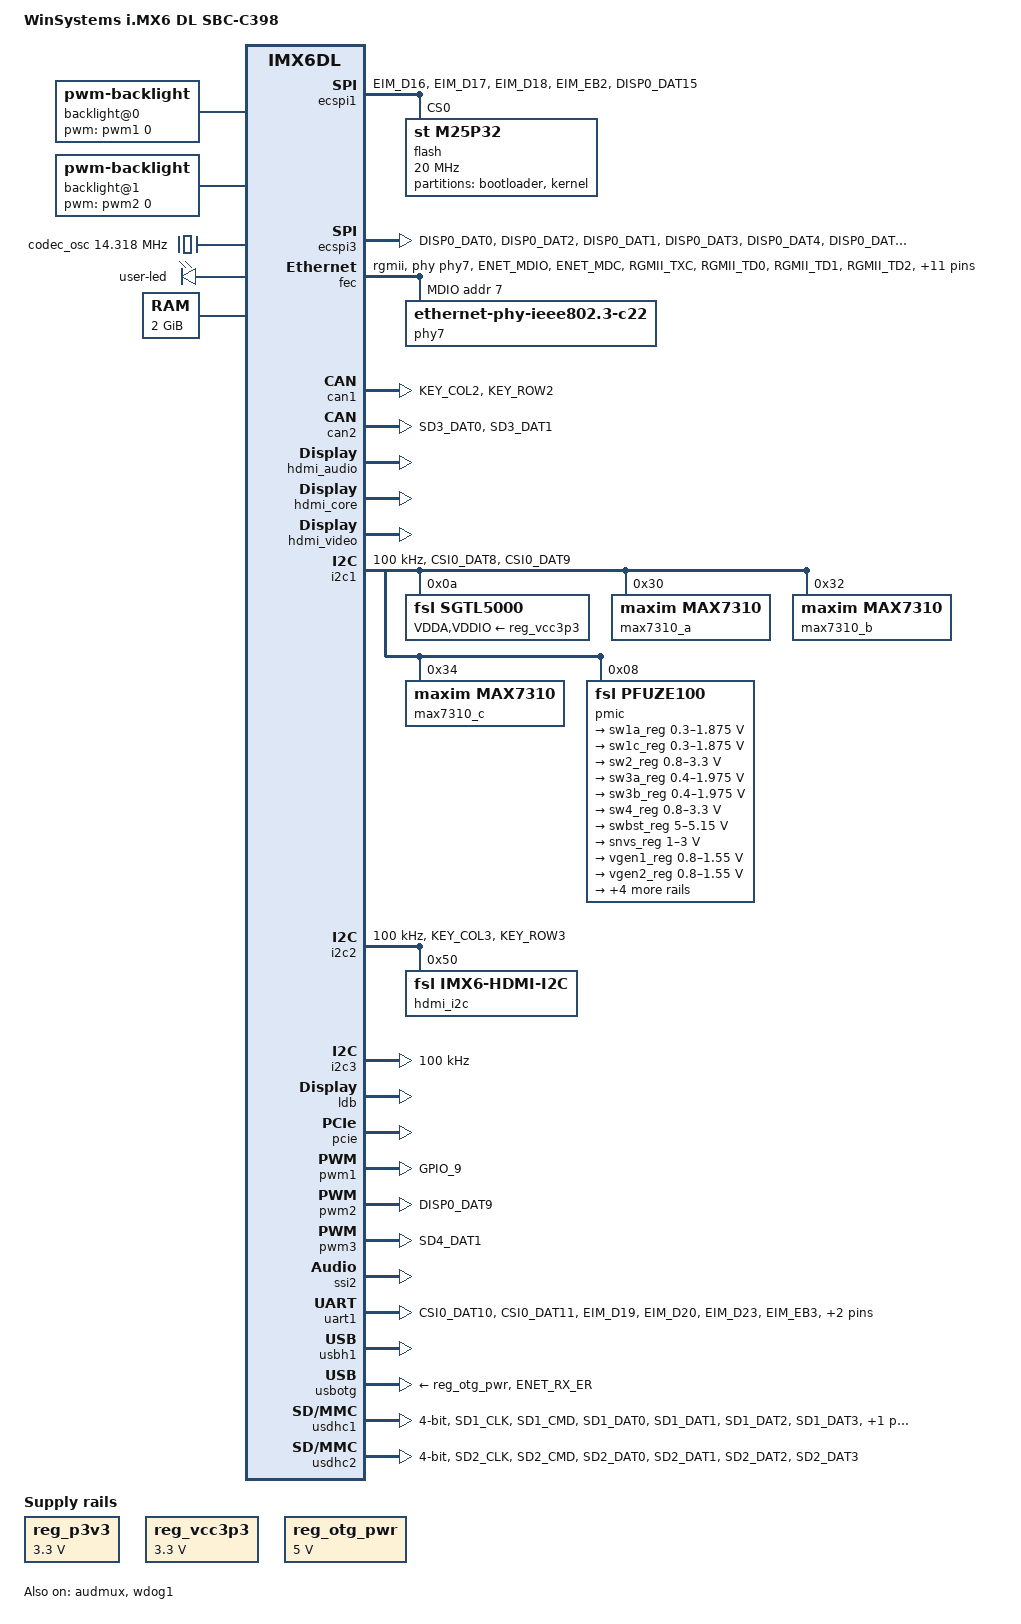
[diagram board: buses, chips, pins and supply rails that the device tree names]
/*
 * Copyright 2016 WinSystems, Inc.
 * Copyright 2012 Freescale Semiconductor, Inc.
 * Copyright 2011 Linaro Ltd.
 *
 * The code contained herein is licensed under the GNU General Public
 * License. You may obtain a copy of the GNU General Public License
 * Version 2 or later at the following locations:
 *
 * http://www.opensource.org/licenses/gpl-license.html
 * http://www.gnu.org/copyleft/gpl.html
 */

/dts-v1/;

#include "imx6dl-pinfunc.h"
#include "imx6dl.dtsi"
#include <dt-bindings/gpio/gpio.h>
#include <dt-bindings/input/input.h>
#include <dt-bindings/interrupt-controller/irq.h>

#define GP_SD1_CS           <&gpio1 1 GPIO_ACTIVE_LOW>
#define GP_BL1_ENBL         <&gpio1 5 GPIO_ACTIVE_HIGH>
#define GP_BL2_ENBL         <&gpio7 13 GPIO_ACTIVE_HIGH>
#define GP_LED_USER         <&gpio1 26 GPIO_ACTIVE_HIGH>
#define GP_CAN2_SILENT      <&gpio1 27 GPIO_ACTIVE_HIGH>
#define GP_ENET_PHY_INT     <&gpio1 28 GPIO_ACTIVE_LOW>
#define GP_CAN1_SILENT      <&gpio1 29 GPIO_ACTIVE_HIGH>
#define GP_SPI1_SS0         <&gpio2 30 GPIO_ACTIVE_HIGH>
#define GP_SPI3_SS0         <&gpio4 24 GPIO_ACTIVE_HIGH>
#define GP_SPI3_SS1         <&gpio4 25 GPIO_ACTIVE_HIGH>
#define GP_SPI3_SS2         <&gpio4 26 GPIO_ACTIVE_HIGH>
#define GP_SPI3_SS3         <&gpio4 27 GPIO_ACTIVE_HIGH>
#define GP_OTG_PWR_EN       <&gpio6 7 GPIO_ACTIVE_HIGH>
#define GP_USB_HUB_RST      <&gpio6 15 GPIO_ACTIVE_LOW>
#define GP_ENET_PHY_RESET   <&gpio6 31 GPIO_ACTIVE_LOW>

#define GP_EXP_PCIE_RST     <&max7310_b 5 GPIO_ACTIVE_LOW>
#define GP_EXP_PCIE_DIS     <&max7310_b 6 GPIO_ACTIVE_LOW>


/ {
    model = "WinSystems i.MX6 DL SBC-C398";
    compatible = "fsl,imx6dl-c398", "fsl,imx6dl";
  };

/ {
    aliases {
        mxcfb0 = &mxcfb1;
        mxcfb1 = &mxcfb2;
        mxcfb2 = &mxcfb3;
        mxcfb3 = &mxcfb4;
    };

    backlight@0 {
        compatible = "pwm-backlight";
        pwms = <&pwm1 0 5000000>;
        brightness-levels = <0 4 8 16 32 64 128 255>;
        default-brightness-level = <7>;
        enable-gpios = GP_BL1_ENBL;
    };

    backlight@1 {
        compatible = "pwm-backlight";
        pwms = <&pwm2 0 5000000>;
        brightness-levels = <0 4 8 16 32 64 128 255>;
        default-brightness-level = <5>;
        enable-gpios = GP_BL2_ENBL;
    };

    clocks {
        codec_osc: codec_osc {
            compatible = "fixed-clock";
            #clock-cells = <0>;
            clock-frequency = <14318000>;
        };
    };

    leds {
        compatible = "gpio-leds";
        pinctrl-names = "default";
        pinctrl-0 = <&pinctrl_leds>;

        user-led {
            gpios = GP_LED_USER;
            retain-state-suspended;
            default-state = "off";
        };
    };

    memory {
        reg = <0x10000000 0x80000000>;
    };

    mxcfb1: fb@0 {
        compatible = "fsl,mxc_sdc_fb";
        disp_dev = "ldb";
        interface_pix_fmt = "RGB666";
        mode_str = "LDB-WVGA";
        default_bpp = <18>;
        int_clk = <0>;
        late_init = <0>;
        status = "okay";
    };

    mxcfb2: fb@1 {
        compatible = "fsl,mxc_sdc_fb";
        disp_dev = "ldb";
        interface_pix_fmt = "RGB666";
        mode_str = "LDB-WVGA";
        default_bpp = <18>;
        int_clk = <0>;
        late_init = <0>;
        status = "okay";
    };

    mxcfb3: fb@2 {
        compatible = "fsl,mxc_sdc_fb";
        disp_dev = "ldb";
        interface_pix_fmt = "RGB666";
        mode_str = "LDB-WVGA";
        default_bpp = <18>;
        int_clk = <0>;
        late_init = <0>;
        status = "okay";
    };

    mxcfb4: fb@3 {
        compatible = "fsl,mxc_sdc_fb";
        disp_dev = "ldb";
        interface_pix_fmt = "RGB566";
        mode_str = "LDB-WVGA";
        default_bpp = <18>;
        int_clk = <0>;
        late_init = <0>;
        status = "okay";
    };

    regulators {
        compatible = "simple-bus";
        #address-cells = <1>;
        #size-cells = <0>;

        reg_p3v3: regulator@0 {
            compatible = "regulator-fixed";
            reg = <0>;
            regulator-name = "reg_p3v3";
            regulator-min-microvolt = <3300000>;
            regulator-max-microvolt = <3300000>;
            regulator-always-on;
        };

        reg_vcc3p3: regulator@1 {
            compatible = "regulator-fixed";
            reg = <1>;
            regulator-name = "reg_vcc3p3";
            regulator-min-microvolt = <3300000>;
            regulator-max-microvolt = <3300000>;
            regulator-always-on;
        };

		reg_otg_pwr: regulator@2 {
			compatible = "regulator-fixed";
			reg = <2>;
			regulator-name = "reg_otg_pwr";
			regulator-min-microvolt = <5000000>;
			regulator-max-microvolt = <5000000>;
			gpio = GP_OTG_PWR_EN;
			enable-active-high;
		};
    };

    sound {
        compatible = "fsl,imx6dl-c398-sgtl5000",
                 "fsl,imx-audio-sgtl5000";
        model = "sgtl5000-audio";
        ssi-controller = <&ssi2>;
        audio-codec = <&sgtl5000>;
        audio-routing =
            "MIC_IN", "Mic Jack",
            "Mic Jack", "Mic Bias",
            "LINE_IN", "Line In Jack",
            "Line Out Jack", "LINE_OUT", 
            "Headphone Jack", "HP_OUT";
        mux-int-port = <2>;
        mux-ext-port = <5>;
    };

    sound-hdmi {
        compatible = "fsl,imx6q-audio-hdmi",
                 "fsl,imx-audio-hdmi";
        model = "imx-audio-hdmi";
        hdmi-controller = <&hdmi_audio>;
    };

    v4l2_cap_0 {
        compatible = "fsl,imx6q-v4l2-capture";
        ipu_id = <0>;
        csi_id = <0>;
        mclk_source = <0>;
        status = "disabled";
    };

    v4l2_out {
        compatible = "fsl,mxc_v4l2_output";
        status = "okay";
    };
};

&audmux {
    pinctrl-names = "default";
    pinctrl-0 = <&pinctrl_audmux>;
    status = "okay";
};

&ecspi1 {
    fsl,spi-num-chipselects = <1>;
    cs-gpios = GP_SPI1_SS0;
    pinctrl-names = "default";
    pinctrl-0 = <&pinctrl_ecspi1>;
    status = "okay";

    flash: m25p80@0 {
        #address-cells = <1>;
        #size-cells = <1>;
        compatible = "st,m25p32";
        reg = <0>;
        spi-max-frequency = <20000000>;

        partition@0 {
            label = "bootloader";
            reg = <0x0 0x100000>;
        };

        partition@1 {
            label = "kernel";
            reg = <0x100000 0x300000>;
        };
    };
};

&ecspi3 {
    fsl,spi-num-chipselects = <4>;
    cs-gpios = GP_SPI3_SS0;
    cs-gpios = GP_SPI3_SS1;
    cs-gpios = GP_SPI3_SS2;
    cs-gpios = GP_SPI3_SS3;
    pinctrl-names = "default";
    pinctrl-0 = <&pinctrl_ecspi3>;
    status = "okay";
};

&fec {
    pinctrl-names = "default";
    pinctrl-0 = <&pinctrl_enet>;
    phy-mode = "rgmii";
    phy-handle = <&phy7>;
    #if 0
    phy-reset-gpios = GP_ENET_PHY_RESET;
    #endif
    status = "okay";

    mdio {
        #address-cells = <1>;
        #size-cells = <0>;

        phy7: ethernet-phy@7 {
            compatible = "ethernet-phy-ieee802.3-c22";
            reg = <7>;
        };
    };
};

&can1 {
    pinctrl-names = "default";
    pinctrl-0 = <&pinctrl_flexcan1>;
    trx-stby-gpio = GP_CAN1_SILENT;
    status = "okay";
};

&can2 {
    pinctrl-names = "default";
    pinctrl-0 = <&pinctrl_flexcan2>;
    trx-stby-gpio = GP_CAN2_SILENT;
    status = "okay";
};

&gpc {
    fsl,ldo-bypass = <1>;
    fsl,wdog-reset = <1>;
};

&hdmi_audio {
    status = "okay";
};

/*
&hdmi_cec {
    pinctrl-names = "default";
    pinctrl-0 = <&pinctrl_hdmi_cec>;
    status = "okay";
};
*/

&hdmi_core {
    ipu_id = <0>;
    disp_id = <0>;
    status = "okay";
};

&hdmi_video {
    fsl,phy_reg_vlev = <0x0294>;
    fsl,phy_reg_cksymtx = <0x800d>;
    status = "okay";
};

&i2c1 {
    clock-frequency = <100000>;
    pinctrl-names = "default";
    pinctrl-0 = <&pinctrl_i2c1>;
    status = "okay";

    sgtl5000: sgtl5000@0a {
        compatible = "fsl,sgtl5000";
        reg = <0x0a>;
        VDDA-supply = <&reg_vcc3p3>;
        VDDIO-supply = <&reg_vcc3p3>;
        clocks = <&codec_osc>;
    };

    max7310_a: gpio@30 {
        compatible = "maxim,max7310";
        reg = <0x30>;
        gpio-controller;
        #gpio-cells = <2>;
    };

    max7310_b: gpio@32 {
        compatible = "maxim,max7310";
        reg = <0x32>;
        gpio-controller;
        #gpio-cells = <2>;
    };

    max7310_c: gpio@34 {
        compatible = "maxim,max7310";
        reg = <0x34>;
        gpio-controller;
        #gpio-cells = <2>;
    };

    pmic: pfuze100@08 {
        compatible = "fsl,pfuze100";
        reg = <0x08>;

        regulators {
            sw1a_reg: sw1ab {
                regulator-min-microvolt = <300000>;
                regulator-max-microvolt = <1875000>;
                regulator-boot-on;
                regulator-always-on;
                regulator-ramp-delay = <6250>;
            };

            sw1c_reg: sw1c {
                regulator-min-microvolt = <300000>;
                regulator-max-microvolt = <1875000>;
                regulator-boot-on;
                regulator-always-on;
                regulator-ramp-delay = <6250>;
            };

            sw2_reg: sw2 {
                regulator-min-microvolt = <800000>;
                regulator-max-microvolt = <3300000>;
                regulator-boot-on;
                regulator-always-on;
            };

            sw3a_reg: sw3a {
                regulator-min-microvolt = <400000>;
                regulator-max-microvolt = <1975000>;
                regulator-boot-on;
                regulator-always-on;
            };

            sw3b_reg: sw3b {
                regulator-min-microvolt = <400000>;
                regulator-max-microvolt = <1975000>;
                regulator-boot-on;
                regulator-always-on;
            };

            sw4_reg: sw4 {
                regulator-min-microvolt = <800000>;
                regulator-max-microvolt = <3300000>;
            };

            swbst_reg: swbst {
                regulator-min-microvolt = <5000000>;
                regulator-max-microvolt = <5150000>;
            };

            snvs_reg: vsnvs {
                regulator-min-microvolt = <1000000>;
                regulator-max-microvolt = <3000000>;
                regulator-boot-on;
                regulator-always-on;
            };

            vref_reg: vrefddr {
                regulator-boot-on;
                regulator-always-on;
            };

            vgen1_reg: vgen1 {
                regulator-min-microvolt = <800000>;
                regulator-max-microvolt = <1550000>;
            };

            vgen2_reg: vgen2 {
                regulator-min-microvolt = <800000>;
                regulator-max-microvolt = <1550000>;
            };

            vgen3_reg: vgen3 {
                regulator-min-microvolt = <1800000>;
                regulator-max-microvolt = <3300000>;
            };

            vgen4_reg: vgen4 {
                regulator-min-microvolt = <1800000>;
                regulator-max-microvolt = <3300000>;
                regulator-always-on;
            };

            vgen5_reg: vgen5 {
                regulator-min-microvolt = <1800000>;
                regulator-max-microvolt = <3300000>;
                regulator-always-on;
            };

            vgen6_reg: vgen6 {
                regulator-min-microvolt = <1800000>;
                regulator-max-microvolt = <3300000>;
                regulator-always-on;
            };
        };
    };
};

&i2c2 {
    clock-frequency = <100000>;
    pinctrl-names = "default";
    pinctrl-0 = <&pinctrl_i2c2>;
    status = "okay";

    hdmi_i2c: edid@50 {
        compatible = "fsl,imx6-hdmi-i2c";
        reg = <0x50>;
    };
};

&i2c3 {
    clock-frequency = <100000>;
    pinctrl-names = "default";
    pinctrl-0 = <&pinctrl_i2c3>;
    status = "okay";
};

&iomuxc {
    pinctrl-names = "default";
    pinctrl-0 = <&pinctrl_hog>;

    imx6dl-c398 {
        pinctrl_audmux: audmuxgrp {
            fsl,pins = <  
                MX6QDL_PAD_DISP0_DAT16__AUD5_TXC       0x130b0
                MX6QDL_PAD_DISP0_DAT17__AUD5_TXD       0x130b0
                MX6QDL_PAD_DISP0_DAT18__AUD5_TXFS      0x130b0
                MX6QDL_PAD_DISP0_DAT19__AUD5_RXD       0x130b0
            >;
        };

        pinctrl_epit: epitgrp {
            fsl,pins = <  
                MX6QDL_PAD_GPIO_7__EPIT1_OUT           0x80000000
                MX6QDL_PAD_GPIO_8__EPIT2_OUT           0x80000000
            >;
        };

        pinctrl_ecspi1: ecspi1grp {
            fsl,pins = <
                MX6QDL_PAD_EIM_D16__ECSPI1_SCLK        0x100b1
                MX6QDL_PAD_EIM_D17__ECSPI1_MISO        0x100b1
                MX6QDL_PAD_EIM_D18__ECSPI1_MOSI        0x100b1
                MX6QDL_PAD_EIM_EB2__GPIO2_IO30         0x80000000  /* cs0 */
                MX6QDL_PAD_DISP0_DAT15__ECSPI1_SS1     0x100b1     /* cs1 unused */
            >;
        };

        pinctrl_ecspi3: ecspi3grp {
            fsl,pins = <
                MX6QDL_PAD_DISP0_DAT0__ECSPI3_SCLK     0x100b1
                MX6QDL_PAD_DISP0_DAT2__ECSPI3_MISO     0x100b1
                MX6QDL_PAD_DISP0_DAT1__ECSPI3_MOSI     0x100b1
                MX6QDL_PAD_DISP0_DAT3__GPIO4_IO24      0x80000000  /* cs0 */
                MX6QDL_PAD_DISP0_DAT4__GPIO4_IO25      0x80000000  /* cs1 */
                MX6QDL_PAD_DISP0_DAT5__GPIO4_IO26      0x80000000  /* cs2 */
                MX6QDL_PAD_DISP0_DAT6__GPIO4_IO27      0x80000000  /* cs3 */
                MX6QDL_PAD_DISP0_DAT7__ECSPI3_RDY      0x100b1
            >;
        };

        pinctrl_enet: enetgrp {
            fsl,pins = <
                MX6QDL_PAD_ENET_MDIO__ENET_MDIO        0x1b0b0
                MX6QDL_PAD_ENET_MDC__ENET_MDC          0x1b0b0
                MX6QDL_PAD_RGMII_TXC__RGMII_TXC        0x1b0b0
                MX6QDL_PAD_RGMII_TD0__RGMII_TD0        0x1b0b0
                MX6QDL_PAD_RGMII_TD1__RGMII_TD1        0x1b0b0
                MX6QDL_PAD_RGMII_TD2__RGMII_TD2        0x1b0b0
                MX6QDL_PAD_RGMII_TD3__RGMII_TD3        0x1b0b0
                MX6QDL_PAD_RGMII_TX_CTL__RGMII_TX_CTL  0x1b0b0
                MX6QDL_PAD_ENET_REF_CLK__ENET_TX_CLK   0x1b0b0
                MX6QDL_PAD_RGMII_RXC__RGMII_RXC        0x1b0b0
                MX6QDL_PAD_RGMII_RD0__RGMII_RD0        0x1b0b0
                MX6QDL_PAD_RGMII_RD1__RGMII_RD1        0x1b0b0
                MX6QDL_PAD_RGMII_RD2__RGMII_RD2        0x1b0b0
                MX6QDL_PAD_RGMII_RD3__RGMII_RD3        0x1b0b0
                MX6QDL_PAD_RGMII_RX_CTL__RGMII_RX_CTL  0x1b0b0
                MX6QDL_PAD_EIM_BCLK__GPIO6_IO31        0x1b0b0      /* Micrel RGMII Phy Reset */
                MX6QDL_PAD_ENET_TX_EN__GPIO1_IO28      0x000b1      /* Micrel RGMII Phy Interrupt */
            >;
        };

        pinctrl_flexcan1: flexcan1grp {
            fsl,pins = <
                MX6QDL_PAD_KEY_COL2__FLEXCAN1_TX       0x1b0b0
                MX6QDL_PAD_KEY_ROW2__FLEXCAN1_RX       0x1b0b0
            >;
        };

        pinctrl_flexcan2: flexcan2grp {
            fsl,pins = <
                MX6QDL_PAD_SD3_DAT0__FLEXCAN2_TX       0x1b0b0
                MX6QDL_PAD_SD3_DAT1__FLEXCAN2_RX       0x1b0b0
            >;
        };
	
	/*
        pinctrl_hdmi_cec: hdmicecgrp {
            fsl,pins = <
                MX6QDL_PAD_KEY_ROW2__HDMI_TX_CEC_LINE  0x1f8b0
            >;
        };
	*/

        pinctrl_hdmi_hdcp: hdmihdcpgrp {
            fsl,pins = <
                MX6QDL_PAD_KEY_COL3__HDMI_TX_DDC_SCL   0x4001b8b1
                MX6QDL_PAD_KEY_ROW3__HDMI_TX_DDC_SDA   0x4001b8b1
            >;
        };

        pinctrl_hog: hoggrp {
            fsl,pins = < 
                MX6QDL_PAD_GPIO_4__GPIO1_IO04          0x010b0     /* LVDS - Power Enable */
                MX6QDL_PAD_GPIO_5__GPIO1_IO05          0x030b0     /* LVDS0 - Backlight Control */
                MX6QDL_PAD_ENET_RXD0__GPIO1_IO27       0x010b0     /* CAN2 Silent */
                MX6QDL_PAD_ENET_TXD1__GPIO1_IO29       0x010b0     /* CAN1 Silent */
                MX6QDL_PAD_DI0_DISP_CLK__GPIO4_IO16    0x80000000  /* DIO0 */
                MX6QDL_PAD_DI0_PIN15__GPIO4_IO17       0x80000000  /* DIO1 */
                MX6QDL_PAD_DI0_PIN2__GPIO4_IO18        0x80000000  /* DIO2 */
                MX6QDL_PAD_DI0_PIN3__GPIO4_IO19        0x80000000  /* DIO3 */
                MX6QDL_PAD_DI0_PIN4__GPIO4_IO20        0x80000000  /* DIO4 */
                MX6QDL_PAD_DISP0_DAT10__GPIO4_IO31     0x80000000  /* DIO5 */
                MX6QDL_PAD_DISP0_DAT11__GPIO5_IO05     0x80000000  /* DIO6 */
                MX6QDL_PAD_DISP0_DAT12__GPIO5_IO06     0x80000000  /* DIO7 */
                MX6QDL_PAD_DISP0_DAT13__GPIO5_IO07     0x80000000  /* DIO8 */
                MX6QDL_PAD_DISP0_DAT14__GPIO5_IO08     0x80000000  /* DIO9 */
                MX6QDL_PAD_CSI0_PIXCLK__GPIO5_IO18     0x80000000  /* DIO10 */
                MX6QDL_PAD_CSI0_MCLK__GPIO5_IO19       0x80000000  /* DIO11 */
                MX6QDL_PAD_CSI0_DATA_EN__GPIO5_IO20    0x80000000  /* DIO12 */
                MX6QDL_PAD_CSI0_VSYNC__GPIO5_IO21      0x80000000  /* DIO13 */
                MX6QDL_PAD_CSI0_DAT4__GPIO5_IO22       0x80000000  /* DIO14 */
                MX6QDL_PAD_CSI0_DAT5__GPIO5_IO23       0x80000000  /* DIO15 */
                MX6QDL_PAD_CSI0_DAT6__GPIO5_IO24       0x80000000  /* DIO16 */
                MX6QDL_PAD_CSI0_DAT7__GPIO5_IO25       0x80000000  /* DIO17 */
                MX6QDL_PAD_CSI0_DAT12__GPIO5_IO30      0x80000000  /* DIO18 */
                MX6QDL_PAD_CSI0_DAT13__GPIO5_IO31      0x80000000  /* DIO19 */
                MX6QDL_PAD_CSI0_DAT14__GPIO6_IO00      0x80000000  /* DIO20 */
                MX6QDL_PAD_CSI0_DAT15__GPIO6_IO01      0x80000000  /* DIO21 */
                MX6QDL_PAD_CSI0_DAT18__GPIO6_IO04      0x80000000  /* DIO22 */
                MX6QDL_PAD_CSI0_DAT19__GPIO6_IO05      0x80000000  /* DIO23 */
                MX6QDL_PAD_NANDF_CLE__GPIO6_IO07       0x030b0     /* USB OTG Power Enable */
                MX6QDL_PAD_NANDF_ALE__GPIO6_IO08       0x80000000  /* User Jumper */
                MX6QDL_PAD_NANDF_CS0__GPIO6_IO11       0x80000000  /* PMIC Interrupt */
                MX6QDL_PAD_NANDF_CS1__GPIO6_IO14       0x80000000  /* USB OTG Over-Current Sense */
                MX6QDL_PAD_NANDF_CS2__GPIO6_IO15       0x000b0     /* USB Hub Reset */
                MX6QDL_PAD_SD3_DAT5__GPIO7_IO00        0x80000000  /* Exp Bus GPIO 1 */
                MX6QDL_PAD_SD3_DAT4__GPIO7_IO01        0x80000000  /* Exp Bus GPIO 2 */
                MX6QDL_PAD_SD3_CMD__GPIO7_IO02         0x80000000  /* Exp Bus GPIO 3 */
                MX6QDL_PAD_SD3_CLK__GPIO7_IO03         0x80000000  /* Exp Bus GPIO 4 */
                MX6QDL_PAD_SD3_DAT2__GPIO7_IO06        0x80000000  /* Exp Bus GPIO 5 */
                MX6QDL_PAD_SD3_DAT3__GPIO7_IO07        0x80000000  /* Exp Bus GPIO 6 */
                MX6QDL_PAD_SD3_RST__GPIO7_IO08         0x80000000  /* Exp Bus GPIO 7 */
                MX6QDL_PAD_GPIO_16__GPIO7_IO11         0x80000000  /* Exp Bus GPIO 8 */
                MX6QDL_PAD_GPIO_17__GPIO7_IO12         0x80000000  /* Exp Bus GPIO 0, Exp Interrupt? */
                MX6QDL_PAD_GPIO_18__GPIO7_IO13         0x030b0     /* LVDS1 - Backlight Control */
                MX6QDL_PAD_DISP0_DAT8__WDOG1_B         0x100b0     /* watchdog 1 */
            >;
        };

        pinctrl_i2c1: i2c1grp {
            fsl,pins = <
                MX6QDL_PAD_CSI0_DAT8__I2C1_SDA		   0x4001b8b1
                MX6QDL_PAD_CSI0_DAT9__I2C1_SCL		   0x4001b8b1
            >;
        };

        pinctrl_i2c2: i2c2grp {
            fsl,pins = <
                MX6QDL_PAD_KEY_COL3__I2C2_SCL		   0x4001b8b1
                MX6QDL_PAD_KEY_ROW3__I2C2_SDA		   0x4001b8b1
             >;
        };

/*
        pinctrl_i2c3: i2c3grp {
            fsl,pins = <
                MX6QDL_PAD_GPIO_3__I2C3_SCL            0x4001b8b1
                MX6QDL_PAD_GPIO_6__I2C3_SDA            0x4001b8b1
            >;
        };
*/

        pinctrl_ipu1: ipu1grp {
            fsl,pins = <
                MX6QDL_PAD_DI0_DISP_CLK__IPU1_DI0_DISP_CLK 0x10
                MX6QDL_PAD_DI0_PIN15__IPU1_DI0_PIN15       0x10
                MX6QDL_PAD_DI0_PIN2__IPU1_DI0_PIN02        0x10
                MX6QDL_PAD_DI0_PIN3__IPU1_DI0_PIN03        0x10
                MX6QDL_PAD_DI0_PIN4__IPU1_DI0_PIN04        0x80000000
                MX6QDL_PAD_DISP0_DAT0__IPU1_DISP0_DATA00   0x10
                MX6QDL_PAD_DISP0_DAT1__IPU1_DISP0_DATA01   0x10
                MX6QDL_PAD_DISP0_DAT2__IPU1_DISP0_DATA02   0x10
                MX6QDL_PAD_DISP0_DAT3__IPU1_DISP0_DATA03   0x10
                MX6QDL_PAD_DISP0_DAT4__IPU1_DISP0_DATA04   0x10
                MX6QDL_PAD_DISP0_DAT5__IPU1_DISP0_DATA05   0x10
                MX6QDL_PAD_DISP0_DAT6__IPU1_DISP0_DATA06   0x10
                MX6QDL_PAD_DISP0_DAT7__IPU1_DISP0_DATA07   0x10
                MX6QDL_PAD_DISP0_DAT8__IPU1_DISP0_DATA08   0x10
                MX6QDL_PAD_DISP0_DAT9__IPU1_DISP0_DATA09   0x10
                MX6QDL_PAD_DISP0_DAT10__IPU1_DISP0_DATA10  0x10
                MX6QDL_PAD_DISP0_DAT11__IPU1_DISP0_DATA11  0x10
                MX6QDL_PAD_DISP0_DAT12__IPU1_DISP0_DATA12  0x10
                MX6QDL_PAD_DISP0_DAT13__IPU1_DISP0_DATA13  0x10
                MX6QDL_PAD_DISP0_DAT14__IPU1_DISP0_DATA14  0x10
                MX6QDL_PAD_DISP0_DAT15__IPU1_DISP0_DATA15  0x10
                MX6QDL_PAD_DISP0_DAT16__IPU1_DISP0_DATA16  0x10
                MX6QDL_PAD_DISP0_DAT17__IPU1_DISP0_DATA17  0x10
                MX6QDL_PAD_DISP0_DAT18__IPU1_DISP0_DATA18  0x10
                MX6QDL_PAD_DISP0_DAT19__IPU1_DISP0_DATA19  0x10
                MX6QDL_PAD_DISP0_DAT20__IPU1_DISP0_DATA20  0x10
                MX6QDL_PAD_DISP0_DAT21__IPU1_DISP0_DATA21  0x10
                MX6QDL_PAD_DISP0_DAT22__IPU1_DISP0_DATA22  0x10
                MX6QDL_PAD_DISP0_DAT23__IPU1_DISP0_DATA23  0x10
            >;
        };

        pinctrl_leds: ledsgrp {
            fsl,pins = <  
                MX6QDL_PAD_ENET_RXD1__GPIO1_IO26       0x0b0b0  /* user_led */
            >;
        };

        pinctrl_pwm1: pwm1grp {
            fsl,pins = <
                MX6QDL_PAD_GPIO_9__PWM1_OUT            0x1b0b1  /* backlight lvds1 */
            >;
        };

        pinctrl_pwm2: pwm2grp {
            fsl,pins = <
                MX6QDL_PAD_DISP0_DAT9__PWM2_OUT        0x1b0b1  /* backlight lvds2 */
            >;
        };

        pinctrl_pwm3: pwm3grp {
            fsl,pins = <
                MX6QDL_PAD_SD4_DAT1__PWM3_OUT          0x1b0b1
            >;
        };

/*
        pinctrl_pwm4: pwm4grp {
            fsl,pins = <
                MX6QDL_PAD_SD4_DAT2__PWM4_OUT          0x1b0b1
            >;
        };
*/

        pinctrl_uart1: uart1grp {
            fsl,pins = <
                MX6QDL_PAD_CSI0_DAT10__UART1_TX_DATA   0x1b0b1
                MX6QDL_PAD_CSI0_DAT11__UART1_RX_DATA   0x1b0b1
                MX6QDL_PAD_EIM_D19__UART1_CTS_B        0x1b0b1
                MX6QDL_PAD_EIM_D20__UART1_RTS_B        0x1b0b1
                MX6QDL_PAD_EIM_D23__UART1_DCD_B        0x1b0b1
                MX6QDL_PAD_EIM_EB3__UART1_RI_B         0x1b0b1
                MX6QDL_PAD_EIM_D24__UART1_DTR_B        0x1b0b1
                MX6QDL_PAD_EIM_D25__UART1_DSR_B        0x1b0b1
            >;
        };

/*
        pinctrl_uart2: uart2grp {
            fsl,pins = <
                MX6QDL_PAD_EIM_D26__UART2_TX_DATA      0x1b0b1
                MX6QDL_PAD_EIM_D27__UART2_RX_DATA      0x1b0b1
                MX6QDL_PAD_EIM_D28__UART2_CTS_B        0x1b0b1
                MX6QDL_PAD_EIM_D29__UART2_RTS_B        0x1b0b1
            >;
        };

        pinctrl_uart3: uart3grp {
            fsl,pins = <
                MX6QDL_PAD_SD4_CMD__UART3_TX_DATA      0x1b0b1
                MX6QDL_PAD_SD4_CLK__UART3_RX_DATA      0x1b0b1
                MX6QDL_PAD_EIM_D30__UART3_CTS_B        0x1b0b1
                MX6QDL_PAD_EIM_D31__UART3_RTS_B        0x1b0b1
            >;
        };

        pinctrl_uart4: uart4grp {
            fsl,pins = <
                MX6QDL_PAD_KEY_COL0__UART4_TX_DATA     0x1b0b1
                MX6QDL_PAD_KEY_ROW0__UART4_RX_DATA     0x1b0b1
                MX6QDL_PAD_CSI0_DAT17__UART4_CTS_B     0x1b0b1
                MX6QDL_PAD_CSI0_DAT16__UART4_RTS_B     0x1b0b1
            >;
        };

        pinctrl_uart5: uart5grp {
            fsl,pins = <
                MX6QDL_PAD_KEY_COL1__UART5_TX_DATA     0x1b0b1
                MX6QDL_PAD_KEY_ROW1__UART5_RX_DATA     0x1b0b1
                MX6QDL_PAD_KEY_ROW4__UART5_CTS_B       0x1b0b1
                MX6QDL_PAD_KEY_COL4__UART5_RTS_B       0x1b0b1
            >;
        };
*/

        pinctrl_usbotg: usbotggrp {
            fsl,pins = <
                MX6QDL_PAD_ENET_RX_ER__USB_OTG_ID      0x17059
            >;
        };

        pinctrl_usdhc1: usdhc1grp {
            fsl,pins = <
                MX6QDL_PAD_SD1_CLK__SD1_CLK            0x10059
                MX6QDL_PAD_SD1_CMD__SD1_CMD            0x17059
                MX6QDL_PAD_SD1_DAT0__SD1_DATA0         0x17059
                MX6QDL_PAD_SD1_DAT1__SD1_DATA1         0x17059
                MX6QDL_PAD_SD1_DAT2__SD1_DATA2         0x17059
                MX6QDL_PAD_SD1_DAT3__SD1_DATA3         0x17059
                MX6QDL_PAD_GPIO_1__SD1_CD_B            0x17059
            >;
        };

        pinctrl_usdhc2: usdhc2grp {
            fsl,pins = <
                MX6QDL_PAD_SD2_CLK__SD2_CLK            0x10059
                MX6QDL_PAD_SD2_CMD__SD2_CMD            0x17059
                MX6QDL_PAD_SD2_DAT0__SD2_DATA0         0x17059
                MX6QDL_PAD_SD2_DAT1__SD2_DATA1         0x17059
                MX6QDL_PAD_SD2_DAT2__SD2_DATA2         0x17059
                MX6QDL_PAD_SD2_DAT3__SD2_DATA3         0x17059
            >;
        };
    };
};

&ldb {
    primary;
    dual-mode;	/*split-mode;*/

    status = "okay";

    lvds-channel@0 {
        crtc = "ipu1-di1";
        fsl,data-mapping = "spwg";
        fsl,data-width = <18>;
        status = "okay";

        display-timings {
            native-mode = <&timing0>;
            timing0: 800x480 {
                clock-frequency = <65000000>;
                hactive = <800>;
                vactive = <480>;
                hback-porch = <96>;
                hfront-porch = <24>;
                vback-porch = <3>;
                vfront-porch = <10>;
                hsync-len = <72>;
                vsync-len = <7>;
            };
        };
    };

    lvds-channel@1 {
        crtc = "ipu2-di0";
        fsl,data-mapping = "spwg";
        fsl,data-width = <18>;
        status = "okay";

        display-timings {
            native-mode = <&timing1>;
            timing1: 800x480 {
                clock-frequency = <65000000>;
                hactive = <800>;
                vactive = <480>;
                hback-porch = <96>;
                hfront-porch = <24>;
                vback-porch = <3>;
                vfront-porch = <10>;
                hsync-len = <72>;
                vsync-len = <7>;
            };
        };
    };
};

&pcie {
    /*power-on-gpio = GP_EXP_PCIE_DIS;*/
    reset-gpio = GP_EXP_PCIE_RST;
    status = "okay";
};

&pwm1 {
    pinctrl-names = "default";
    pinctrl-0 = <&pinctrl_pwm1>;
    status = "okay";
};

&pwm2 {
    pinctrl-names = "default";
    pinctrl-0 = <&pinctrl_pwm2>;
    status = "okay";
};

&pwm3 {
    pinctrl-names = "default";
    pinctrl-0 = <&pinctrl_pwm3>;
    status = "okay";
};

&reg_arm {
 vin-supply = <&sw1a_reg>;
};

&reg_soc {
 vin-supply = <&sw1c_reg>;
};

&snvs_poweroff {
        status = "okay";
};

//&snvs_pwrkey {
//        status = "okay";
//};

&ssi2 {
    fsl,mode = "i2s-slave";
    status = "okay";
};

&uart1 {
    pinctrl-names = "default";
    pinctrl-0 = <&pinctrl_uart1>;
    status = "okay";
};

/*
&uart2 {
    pinctrl-names = "default";
    pinctrl-0 = <&pinctrl_uart2>;
    status = "okay";
};

&uart3 {
    pinctrl-names = "default";
    pinctrl-0 = <&pinctrl_uart3>;
    status = "okay";
};

&uart4 {
    pinctrl-names = "default";
    pinctrl-0 = <&pinctrl_uart4>;
    status = "okay";
};

&uart5 {
    pinctrl-names = "default";
    pinctrl-0 = <&pinctrl_uart5>;
    status = "okay";
};
*/

&usbh1 {
    reset-gpios = GP_USB_HUB_RST;
    status = "okay";
};

&usbotg {
    vbus-supply = <&reg_otg_pwr>;
    pinctrl-names = "default";
    pinctrl-0 = <&pinctrl_usbotg>;
    disable-over-current;
    status = "okay";
};

&usdhc1 {
    pinctrl-names = "default";
    pinctrl-0 = <&pinctrl_usdhc1>;
    bus-width = <4>;
    cd-gpios = GP_SD1_CS;
    keep-power-in-suspend;
    status = "okay";
};

&usdhc2 {
    pinctrl-names = "default";
    pinctrl-0 = <&pinctrl_usdhc2>;
    bus-width = <4>;
    keep-power-in-suspend;
    status = "okay";
};

&wdog1 {
    status = "okay";
};
